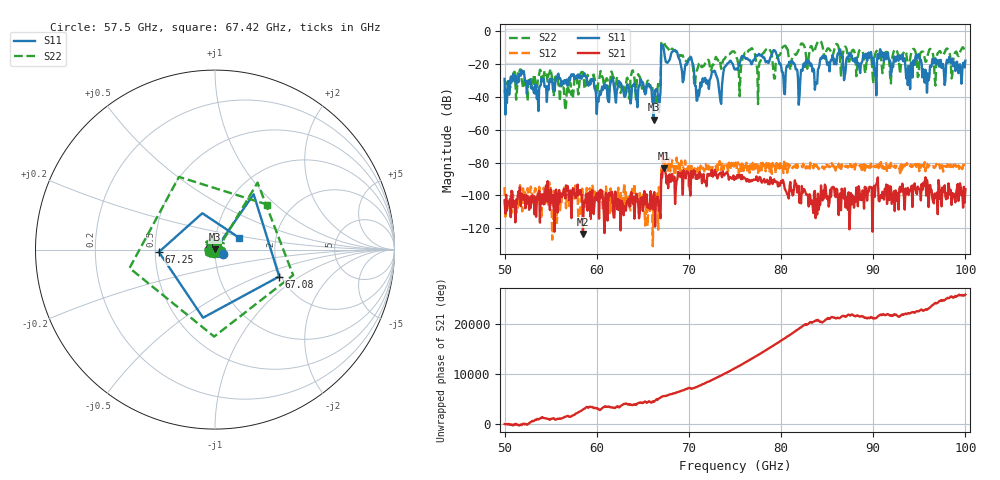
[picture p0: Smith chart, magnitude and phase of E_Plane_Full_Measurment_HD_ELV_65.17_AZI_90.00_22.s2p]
! 11/26/2026 3:25:58 PM
! C:\ANRITSUVNA\TEMP\TEMP.S2P
! CHANNEL.1
! TR.MEASUREMENT
! RAW.DATA
# HZ S RI R 50.0
! FREQ.HZ  S11RE  S11IM  S21RE  S21IM  S12RE  S12IM  S22RE  S22IM
!; PortSelection: Port_12
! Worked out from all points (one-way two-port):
!   601 points, 50 GHz to 100 GHz, reference 50 ohm
!   highest |S21| = -83.43 dB at 67.25 GHz (marker M1); lowest = -123.5 dB at 58.5 GHz (marker M2)
!   lowest |S11| = -54.0 dB at 66.17 GHz (marker M3), VSWR 1.00, Z = 50.1 + j0.144 ohm
!   |S11| at or under -10 dB: start of sweep to 67 GHz; 67.25 GHz to end of sweep
!   |S22| runs from -48.1 to -5.6 dB; largest |S21 - S12| = 0.00021
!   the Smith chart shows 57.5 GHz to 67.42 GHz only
!   S11 on the Smith chart (normalised r, x): 57.5 GHz: 1.09, -0.05; 67.08 GHz: 1.95, -0.69; 67.25 GHz: 0.52, -0.02; 67.42 GHz: 1.29, +0.18
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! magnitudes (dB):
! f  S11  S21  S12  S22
! 50 GHz  -29.0  -103.1  -95.0  -35.8
! 51.67 GHz  -26.3  -95.1  -93.8  -23.3
! 57.5 GHz  -26.2  -96.6  -100.2  -34.7
! 58.42 GHz  -27.2  -100.1  -96.0  -24.7
! 58.5 GHz  -27.5  -123.5  -99.6  -25.0
! 60.17 GHz  -43.0  -98.5  -96.4  -30.4
! 66.17 GHz  -54.0  -99.4  -102.0  -34.0
! 66.67 GHz  -41.5  -103.2  -120.9  -31.7
! 67.08 GHz  -8.2  -89.3  -82.2  -6.8
! 67.25 GHz  -10.1  -83.4  -82.0  -6.2
! 67.42 GHz  -16.6  -84.6  -79.4  -8.3
! 70.25 GHz  -16.0  -85.2  -80.5  -18.8
! 70.92 GHz  -42.0  -90.0  -85.6  -23.1
! 75 GHz  -23.3  -88.9  -83.8  -13.0
! 79.25 GHz  -11.5  -90.2  -82.0  -28.8
! 80.25 GHz  -27.9  -91.5  -86.5  -9.3
! 83.42 GHz  -24.5  -106.1  -82.6  -10.8
! 91.67 GHz  -16.8  -102.8  -83.1  -15.2
! 93.75 GHz  -32.8  -95.4  -82.6  -21.3
! 94.83 GHz  -15.0  -94.6  -82.5  -27.9
! 95.83 GHz  -37.5  -90.7  -80.6  -16.5
! 100 GHz  -17.9  -96.3  -83.1  -12.6
